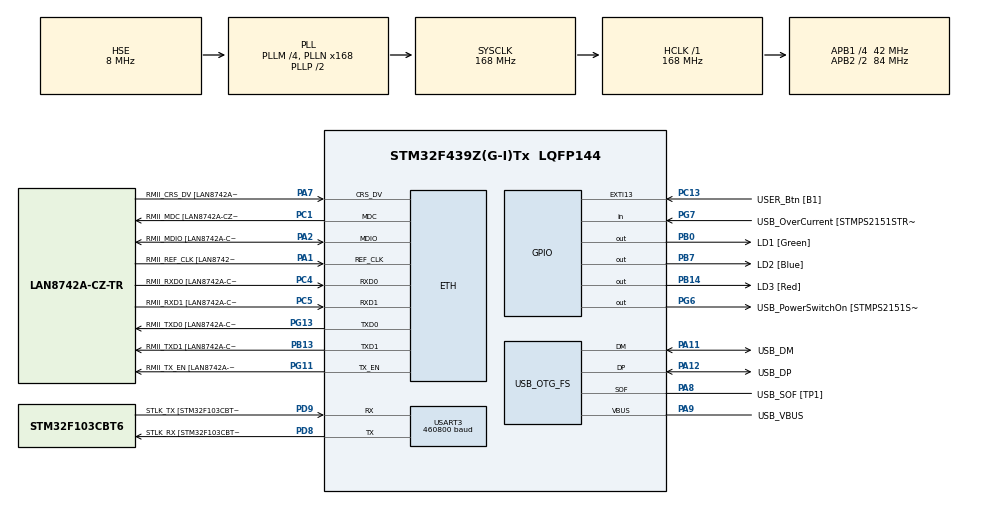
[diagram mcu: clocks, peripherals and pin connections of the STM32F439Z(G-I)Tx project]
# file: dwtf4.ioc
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Dma.Request0=USART3_RX
Dma.USART3_RX.0.Direction=DMA_PERIPH_TO_MEMORY
Dma.USART3_RX.0.FIFOMode=DMA_FIFOMODE_DISABLE
Dma.USART3_RX.0.Instance=DMA1_Stream1
Dma.USART3_RX.0.MemDataAlignment=DMA_MDATAALIGN_BYTE
Dma.USART3_RX.0.MemInc=DMA_MINC_ENABLE
Dma.USART3_RX.0.Mode=DMA_NORMAL
Dma.USART3_RX.0.PeriphDataAlignment=DMA_PDATAALIGN_BYTE
Dma.USART3_RX.0.PeriphInc=DMA_PINC_DISABLE
Dma.USART3_RX.0.Priority=DMA_PRIORITY_LOW
ETH.MediaInterface=HAL_ETH_RMII_MODE
ETH.PHY_Name=LAN8742A_PHY_ADDRESS
ETH.PHY_Value=0
ETH.PhyAddress=0
Mcu.Family=STM32F4
Mcu.Name=STM32F439Z(G-I)Tx
Mcu.Package=LQFP144
NVIC.DMA1_Stream1_IRQn=true\:0\:0\:false\:false\:true\:false\:true\:true
NVIC.PriorityGroup=NVIC_PRIORITYGROUP_4
NVIC.USART3_IRQn=true\:0\:0\:false\:false\:true\:true\:true\:true
PA0/WKUP.Mode=SYS_WakeUp0
PA0/WKUP.Signal=SYS_WKUP
PA1.GPIO_Label=RMII_REF_CLK [LAN8742A-CZ-TR_REFCLK0]
PA1.Mode=RMII
PA1.Signal=ETH_REF_CLK
PA10.GPIO_Label=USB_ID
PA10.Signal=USB_OTG_FS_ID
PA11.GPIO_Label=USB_DM
PA11.Mode=Device_Only
PA11.Signal=USB_OTG_FS_DM
PA12.GPIO_Label=USB_DP
PA12.Mode=Device_Only
PA12.Signal=USB_OTG_FS_DP
PA13.GPIO_Label=TMS
PA13.Mode=Serial_Wire
PA13.Signal=SYS_JTMS-SWDIO
PA14.GPIO_Label=TCK
PA14.Mode=Serial_Wire
PA14.Signal=SYS_JTCK-SWCLK
PA2.GPIO_Label=RMII_MDIO [LAN8742A-CZ-TR_MDIO]
PA2.Mode=RMII
PA2.Signal=ETH_MDIO
PA7.GPIO_Label=RMII_CRS_DV [LAN8742A-CZ-TR_CRS_DV]
PA7.Mode=RMII
PA7.Signal=ETH_CRS_DV
PA8.GPIO_Label=USB_SOF [TP1]
PA8.Mode=Activate_SOF_FS
PA8.Signal=USB_OTG_FS_SOF
PA9.GPIO_Label=USB_VBUS
PA9.Mode=Activate_VBUS
PA9.Signal=USB_OTG_FS_VBUS
PB0.GPIO_Label=LD1 [Green]
PB0.Signal=GPIO_Output
PB13.GPIO_Label=RMII_TXD1 [LAN8742A-CZ-TR_TXD1]
PB13.Mode=RMII
PB13.Signal=ETH_TXD1
PB14.GPIO_Label=LD3 [Red]
PB14.Signal=GPIO_Output
PB7.GPIO_Label=LD2 [Blue]
PB7.Signal=GPIO_Output
PC1.GPIO_Label=RMII_MDC [LAN8742A-CZ-TR_MDC]
PC1.Mode=RMII
PC1.Signal=ETH_MDC
PC13.GPIO_Label=USER_Btn [B1]
PC13.Signal=GPXTI13
PC14/OSC32_IN.Mode=LSE-External-Oscillator
PC14/OSC32_IN.Signal=RCC_OSC32_IN
PC15/OSC32_OUT.Mode=LSE-External-Oscillator
PC15/OSC32_OUT.Signal=RCC_OSC32_OUT
PC4.GPIO_Label=RMII_RXD0 [LAN8742A-CZ-TR_RXD0]
PC4.Mode=RMII
PC4.Signal=ETH_RXD0
PC5.GPIO_Label=RMII_RXD1 [LAN8742A-CZ-TR_RXD1]
PC5.Mode=RMII
PC5.Signal=ETH_RXD1
PD8.GPIO_Label=STLK_RX [STM32F103CBT6_PA3]
PD8.Mode=Asynchronous
PD8.Signal=USART3_TX
PD9.GPIO_Label=STLK_TX [STM32F103CBT6_PA2]
PD9.Mode=Asynchronous
PD9.Signal=USART3_RX
PG11.GPIO_Label=RMII_TX_EN [LAN8742A-CZ-TR_TXEN]
PG11.Mode=RMII
PG11.Signal=ETH_TX_EN
PG13.GPIO_Label=RMII_TXD0 [LAN8742A-CZ-TR_TXD0]
PG13.Mode=RMII
PG13.Signal=ETH_TXD0
PG6.GPIO_Label=USB_PowerSwitchOn [STMPS2151STR_EN]
PG6.Signal=GPIO_Output
PG7.GPIO_Label=USB_OverCurrent [STMPS2151STR_FAULT]
PG7.Signal=GPIO_Input
PH0/OSC_IN.GPIO_Label=MCO [STM32F103CBT6_PA8]
PH0/OSC_IN.Mode=HSE-External-Clock-Source
PH0/OSC_IN.Signal=RCC_OSC_IN
PH1/OSC_OUT.Mode=HSE-External-Clock-Source
PH1/OSC_OUT.Signal=RCC_OSC_OUT
ProjectManager.HeapSize=0x200
ProjectManager.StackSize=0x400
ProjectManager.TargetToolchain=STM32CubeIDE
RCC.48MHZClocksFreq_Value=48000000
RCC.AHBFreq_Value=168000000
RCC.APB1CLKDivider=RCC_HCLK_DIV4
RCC.APB1Freq_Value=42000000
RCC.APB1TimFreq_Value=84000000
RCC.APB2CLKDivider=RCC_HCLK_DIV2
RCC.APB2Freq_Value=84000000
RCC.APB2TimCLKDivider=2
RCC.APB2TimFreq_Value=168000000
RCC.CortexFreq_Value=168000000
RCC.HCLKFreq_Value=168000000
RCC.HSE_VALUE=8000000
RCC.HSI_VALUE=16000000
RCC.PLLM=4
RCC.PLLMUL=RCC_PLL_MUL9
RCC.PLLN=168
RCC.PLLQ=7
RCC.PRESCALERUSB=RCC_USBCLKSOURCE_PLL_DIV1_5
RCC.SYSCLKFreq_VALUE=168000000
RCC.SYSCLKSource=RCC_SYSCLKSOURCE_PLLCLK
RCC.SYSCLKSourceVirtual=RCC_SYSCLKSOURCE_PLLCLK
RCC.USBFreq_Value=48000000
RCC.VCOOutputFreq_Value=336000000
USART3.BaudRate=460800
USART3.VirtualMode=VM_ASYNC
USB_OTG_FS.VirtualMode=Device_Only
board=NUCLEO-F439ZI

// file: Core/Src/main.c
/* USER CODE BEGIN Header */
/**
  ******************************************************************************
  * @file           : main.c
  * @brief          : Main program body
  ******************************************************************************
  * @attention
  *
  * Copyright (c) 2026 STMicroelectronics.
  * All rights reserved.
  *
  * This software is licensed under terms that can be found in the LICENSE file
  * in the root directory of this software component.
  * If no LICENSE file comes with this software, it is provided AS-IS.
  *
  ******************************************************************************
  */
/* USER CODE END Header */
#include "main.h"
#include "string.h"

/* USER CODE BEGIN Includes */
#include "wavelib.h"
#include <stdbool.h>
#include <math.h>
#include "cwt.h"
/* USER CODE END Includes */

/* USER CODE BEGIN PD */
#define FS_HZ               16000
#define N_SAMPLES           2048
#define NEW_SAMPLES         1024
#define J_LEVELS            6
#define UART_DMA_RX_BYTES   (NEW_SAMPLES * 2)
/* USER CODE END PD */

ETH_TxPacketConfig TxConfig;
ETH_DMADescTypeDef  DMARxDscrTab[ETH_RX_DESC_CNT]; /* Ethernet Rx DMA Descriptors */
ETH_DMADescTypeDef  DMATxDscrTab[ETH_TX_DESC_CNT]; /* Ethernet Tx DMA Descriptors */

ETH_HandleTypeDef heth;

UART_HandleTypeDef huart3;
DMA_HandleTypeDef hdma_usart3_rx;

PCD_HandleTypeDef hpcd_USB_OTG_FS;

/* USER CODE BEGIN PV */
static int16_t pcm16_rx[NEW_SAMPLES];
static int16_t pcm_window[N_SAMPLES];
static volatile bool frameReady = false;
wave_object wave;
wt_object wt;

static double yInputD[N_SAMPLES];
static float dwtOutputF32[2200];
/* USER CODE END PV */

void SystemClock_Config(void);
static void MX_GPIO_Init(void);
static void MX_DMA_Init(void);
static void MX_ETH_Init(void);
static void MX_USART3_UART_Init(void);
static void MX_USB_OTG_FS_PCD_Init(void);
/* USER CODE BEGIN PFP */
void AudioDSP_Init(void);
void AudioDSP_Task(void);
static void StartUartDmaReception(void);
static void ProcessDWT(void);
static void SendDWTData(void);
/* USER CODE END PFP */

int main(void)
{

  /* MCU Configuration--------------------------------------------------------*/

  /* Reset of all peripherals, Initializes the Flash interface and the Systick. */
  HAL_Init();

  /* Configure the system clock */
  SystemClock_Config();

  /* Initialize all configured peripherals */
  MX_GPIO_Init();
  MX_DMA_Init();
  MX_ETH_Init();
  MX_USART3_UART_Init();
  MX_USB_OTG_FS_PCD_Init();
  /* USER CODE BEGIN 2 */
  AudioDSP_Init();
  /* USER CODE END 2 */

  /* Infinite loop */
  while (1)
  {

    /* USER CODE BEGIN 3 */
	  AudioDSP_Task();
  }
  /* USER CODE END 3 */
}

void SystemClock_Config(void)
{
  RCC_OscInitTypeDef RCC_OscInitStruct = {0};
  RCC_ClkInitTypeDef RCC_ClkInitStruct = {0};

  /** Configure the main internal regulator output voltage
  */
  __HAL_RCC_PWR_CLK_ENABLE();
  __HAL_PWR_VOLTAGESCALING_CONFIG(PWR_REGULATOR_VOLTAGE_SCALE1);

  /** Initializes the RCC Oscillators according to the specified parameters
  * in the RCC_OscInitTypeDef structure.
  */
  RCC_OscInitStruct.OscillatorType = RCC_OSCILLATORTYPE_HSE;
  RCC_OscInitStruct.HSEState = RCC_HSE_BYPASS;
  RCC_OscInitStruct.PLL.PLLState = RCC_PLL_ON;
  RCC_OscInitStruct.PLL.PLLSource = RCC_PLLSOURCE_HSE;
  RCC_OscInitStruct.PLL.PLLM = 4;
  RCC_OscInitStruct.PLL.PLLN = 168;
  RCC_OscInitStruct.PLL.PLLP = RCC_PLLP_DIV2;
  RCC_OscInitStruct.PLL.PLLQ = 7;
  if (HAL_RCC_OscConfig(&RCC_OscInitStruct) != HAL_OK)
  {
    Error_Handler();
  }

  /** Initializes the CPU, AHB and APB buses clocks
  */
  RCC_ClkInitStruct.ClockType = RCC_CLOCKTYPE_HCLK|RCC_CLOCKTYPE_SYSCLK
                              |RCC_CLOCKTYPE_PCLK1|RCC_CLOCKTYPE_PCLK2;
  RCC_ClkInitStruct.SYSCLKSource = RCC_SYSCLKSOURCE_PLLCLK;
  RCC_ClkInitStruct.AHBCLKDivider = RCC_SYSCLK_DIV1;
  RCC_ClkInitStruct.APB1CLKDivider = RCC_HCLK_DIV4;
  RCC_ClkInitStruct.APB2CLKDivider = RCC_HCLK_DIV2;

  if (HAL_RCC_ClockConfig(&RCC_ClkInitStruct, FLASH_LATENCY_5) != HAL_OK)
  {
    Error_Handler();
  }
}

static void MX_ETH_Init(void)
{

   static uint8_t MACAddr[6];

  heth.Instance = ETH;
  MACAddr[0] = 0x00;
  MACAddr[1] = 0x80;
  MACAddr[2] = 0xE1;
  MACAddr[3] = 0x00;
  MACAddr[4] = 0x00;
  MACAddr[5] = 0x00;
  heth.Init.MACAddr = &MACAddr[0];
  heth.Init.MediaInterface = HAL_ETH_RMII_MODE;
  heth.Init.TxDesc = DMATxDscrTab;
  heth.Init.RxDesc = DMARxDscrTab;
  heth.Init.RxBuffLen = 1524;

  if (HAL_ETH_Init(&heth) != HAL_OK)
  {
    Error_Handler();
  }

  memset(&TxConfig, 0 , sizeof(ETH_TxPacketConfig));
  TxConfig.Attributes = ETH_TX_PACKETS_FEATURES_CSUM | ETH_TX_PACKETS_FEATURES_CRCPAD;
  TxConfig.ChecksumCtrl = ETH_CHECKSUM_IPHDR_PAYLOAD_INSERT_PHDR_CALC;
  TxConfig.CRCPadCtrl = ETH_CRC_PAD_INSERT;

}

static void MX_USART3_UART_Init(void)
{

  huart3.Instance = USART3;
  huart3.Init.BaudRate = 460800;
  huart3.Init.WordLength = UART_WORDLENGTH_8B;
  huart3.Init.StopBits = UART_STOPBITS_1;
  huart3.Init.Parity = UART_PARITY_NONE;
  huart3.Init.Mode = UART_MODE_TX_RX;
  huart3.Init.HwFlowCtl = UART_HWCONTROL_NONE;
  huart3.Init.OverSampling = UART_OVERSAMPLING_16;
  if (HAL_UART_Init(&huart3) != HAL_OK)
  {
    Error_Handler();
  }

}

static void MX_USB_OTG_FS_PCD_Init(void)
{

  hpcd_USB_OTG_FS.Instance = USB_OTG_FS;
  hpcd_USB_OTG_FS.Init.dev_endpoints = 4;
  hpcd_USB_OTG_FS.Init.speed = PCD_SPEED_FULL;
  hpcd_USB_OTG_FS.Init.dma_enable = DISABLE;
  hpcd_USB_OTG_FS.Init.phy_itface = PCD_PHY_EMBEDDED;
  hpcd_USB_OTG_FS.Init.Sof_enable = ENABLE;
  hpcd_USB_OTG_FS.Init.low_power_enable = DISABLE;
  hpcd_USB_OTG_FS.Init.lpm_enable = DISABLE;
  hpcd_USB_OTG_FS.Init.vbus_sensing_enable = ENABLE;
  hpcd_USB_OTG_FS.Init.use_dedicated_ep1 = DISABLE;
  if (HAL_PCD_Init(&hpcd_USB_OTG_FS) != HAL_OK)
  {
    Error_Handler();
  }

}

static void MX_DMA_Init(void)
{

  /* DMA controller clock enable */
  __HAL_RCC_DMA1_CLK_ENABLE();

  /* DMA interrupt init */
  /* DMA1_Stream1_IRQn interrupt configuration */
  HAL_NVIC_SetPriority(DMA1_Stream1_IRQn, 0, 0);
  HAL_NVIC_EnableIRQ(DMA1_Stream1_IRQn);

}

static void MX_GPIO_Init(void)
{
  GPIO_InitTypeDef GPIO_InitStruct = {0};

  /* GPIO Ports Clock Enable */
  __HAL_RCC_GPIOC_CLK_ENABLE();
  __HAL_RCC_GPIOH_CLK_ENABLE();
  __HAL_RCC_GPIOA_CLK_ENABLE();
  __HAL_RCC_GPIOB_CLK_ENABLE();
  __HAL_RCC_GPIOD_CLK_ENABLE();
  __HAL_RCC_GPIOG_CLK_ENABLE();

  /*Configure GPIO pin Output Level */
  HAL_GPIO_WritePin(GPIOB, LD1_Pin|LD3_Pin|LD2_Pin, GPIO_PIN_RESET);

  /*Configure GPIO pin Output Level */
  HAL_GPIO_WritePin(USB_PowerSwitchOn_GPIO_Port, USB_PowerSwitchOn_Pin, GPIO_PIN_RESET);

  /*Configure GPIO pin : USER_Btn_Pin */
  GPIO_InitStruct.Pin = USER_Btn_Pin;
  GPIO_InitStruct.Mode = GPIO_MODE_IT_RISING;
  GPIO_InitStruct.Pull = GPIO_NOPULL;
  HAL_GPIO_Init(USER_Btn_GPIO_Port, &GPIO_InitStruct);

  /*Configure GPIO pins : LD1_Pin LD3_Pin LD2_Pin */
  GPIO_InitStruct.Pin = LD1_Pin|LD3_Pin|LD2_Pin;
  GPIO_InitStruct.Mode = GPIO_MODE_OUTPUT_PP;
  GPIO_InitStruct.Pull = GPIO_NOPULL;
  GPIO_InitStruct.Speed = GPIO_SPEED_FREQ_LOW;
  HAL_GPIO_Init(GPIOB, &GPIO_InitStruct);

  /*Configure GPIO pin : USB_PowerSwitchOn_Pin */
  GPIO_InitStruct.Pin = USB_PowerSwitchOn_Pin;
  GPIO_InitStruct.Mode = GPIO_MODE_OUTPUT_PP;
  GPIO_InitStruct.Pull = GPIO_NOPULL;
  GPIO_InitStruct.Speed = GPIO_SPEED_FREQ_LOW;
  HAL_GPIO_Init(USB_PowerSwitchOn_GPIO_Port, &GPIO_InitStruct);

  /*Configure GPIO pin : USB_OverCurrent_Pin */
  GPIO_InitStruct.Pin = USB_OverCurrent_Pin;
  GPIO_InitStruct.Mode = GPIO_MODE_INPUT;
  GPIO_InitStruct.Pull = GPIO_NOPULL;
  HAL_GPIO_Init(USB_OverCurrent_GPIO_Port, &GPIO_InitStruct);

}

/* USER CODE BEGIN 4 */
void AudioDSP_Init(void)
{
    memset((void*)pcm16_rx, 0, sizeof(pcm16_rx));
    memset((void*)pcm_window, 0, sizeof(pcm_window));

    wave = wave_init("db4");
    wt = wt_init(wave, "dwt", N_SAMPLES, J_LEVELS);

    StartUartDmaReception();
}

void AudioDSP_Task(void)
{
    if (frameReady)
    {
        frameReady = false;
        ProcessDWT();
        SendDWTData();

    }
}

static void ProcessDWT(void)
{
	// Desplazar la mitad vieja de la ventana hacia la izquierda
    memmove(pcm_window, &pcm_window[NEW_SAMPLES], NEW_SAMPLES * sizeof(int16_t));

    //muestras nuevas
    memcpy(&pcm_window[NEW_SAMPLES], pcm16_rx, NEW_SAMPLES * sizeof(int16_t));

    for (int i = 0; i < N_SAMPLES; i++) {
        yInputD[i] = (double)pcm_window[i];
    }

    dwt(wt, yInputD); //transformada
}

static void SendDWTData(void) {
    HAL_UART_DMAStop(&huart3);

    uint16_t len = (uint16_t)wt->outlength;
    uint8_t header[6] = {0xFF, 0xAA, 0xFF, 0xAA,
                         (uint8_t)(len & 0xFF),
                         (uint8_t)(len >> 8)};

    for (int i = 0; i < wt->outlength; i++)
        dwtOutputF32[i] = (float)wt->output[i];

    HAL_UART_Transmit(&huart3, header, 6, HAL_MAX_DELAY);
    HAL_UART_Transmit(&huart3, (uint8_t*)dwtOutputF32,
                      len * sizeof(float), HAL_MAX_DELAY);

    StartUartDmaReception();
}
void HAL_UART_RxCpltCallback(UART_HandleTypeDef *huart)
{
    if (huart->Instance == USART3)
    {
        frameReady = true;
    }
}

static void StartUartDmaReception(void)
{
    HAL_UART_Receive_DMA(&huart3, (uint8_t*)pcm16_rx, UART_DMA_RX_BYTES);
}
void HAL_UART_ErrorCallback(UART_HandleTypeDef *huart)
{
    if (huart->Instance == USART3)
    {
        __HAL_UART_CLEAR_OREFLAG(huart);
        StartUartDmaReception();
    }
}
/* USER CODE END 4 */

void Error_Handler(void)
{
  __disable_irq();
  while (1)
  {
  }
}
